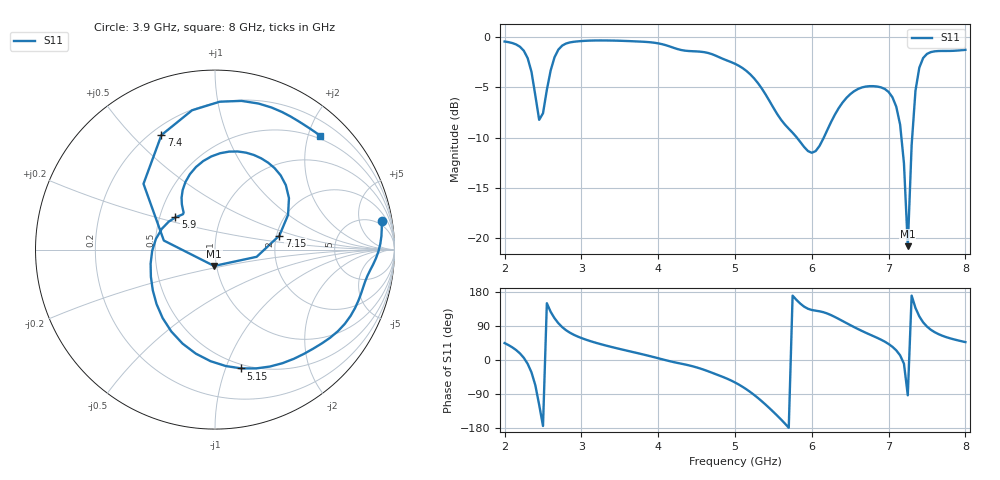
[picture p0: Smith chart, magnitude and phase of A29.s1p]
! Generated by Hertzon (EMerge FEM)
# HZ S RI R 50
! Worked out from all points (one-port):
!   121 points, 2 GHz to 8 GHz, reference 50 ohm
!   lowest |S11| = -20.8 dB at 7.25 GHz (marker M1), VSWR 1.20, Z = 48.7 - j8.95 ohm
!   |S11| at or under -10 dB: 5.806 GHz to 6.156 GHz (350.1 MHz wide, 5.85 % of centre); 7.167 GHz to 7.307 GHz (140.2 MHz wide, 1.94 % of centre)
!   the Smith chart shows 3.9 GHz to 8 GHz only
!   S11 on the Smith chart (normalised r, x): 3.9 GHz: 4, +10; 5.15 GHz: 0.46, -1.13; 5.9 GHz: 0.60, +0.24; 7.15 GHz: 2.07, +0.37; 7.4 GHz: 0.24, +0.61; 8 GHz: 0.44, +2.22
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2e9  0.6761 0.6671
2.25e9  0.8504 0.086
2.35e9  0.5656 -0.3618
2.4e9  0.2041 -0.47
2.5e9  -0.4158 -0.0426
2.55e9  -0.4722 0.2748
2.65e9  -0.2746 0.7443
2.75e9  0.0517 0.9053
3.05e9  0.559 0.7776
3.5e9  0.8374 0.4659
3.9e9  0.9277 0.1607
4.25e9  0.8638 -0.1162
4.65e9  0.7236 -0.4133
5e9  0.3763 -0.6328
5.15e9  0.1463 -0.6619
5.45e9  -0.2917 -0.3815
5.75e9  -0.3293 0.0593
5.9e9  -0.2202 0.1797
6.5e9  -0.0199 0.5194
6.9e9  0.3321 0.4539
7.15e9  0.3587 0.0782
7.2e9  0.2322 -0.0401
7.25e9  -0.0051 -0.0912
7.3e9  -0.2851 0.0505
7.35e9  -0.3984 0.3665
7.4e9  -0.2984 0.6381
7.6e9  0.2421 0.8139
8e9  0.5869 0.6333
